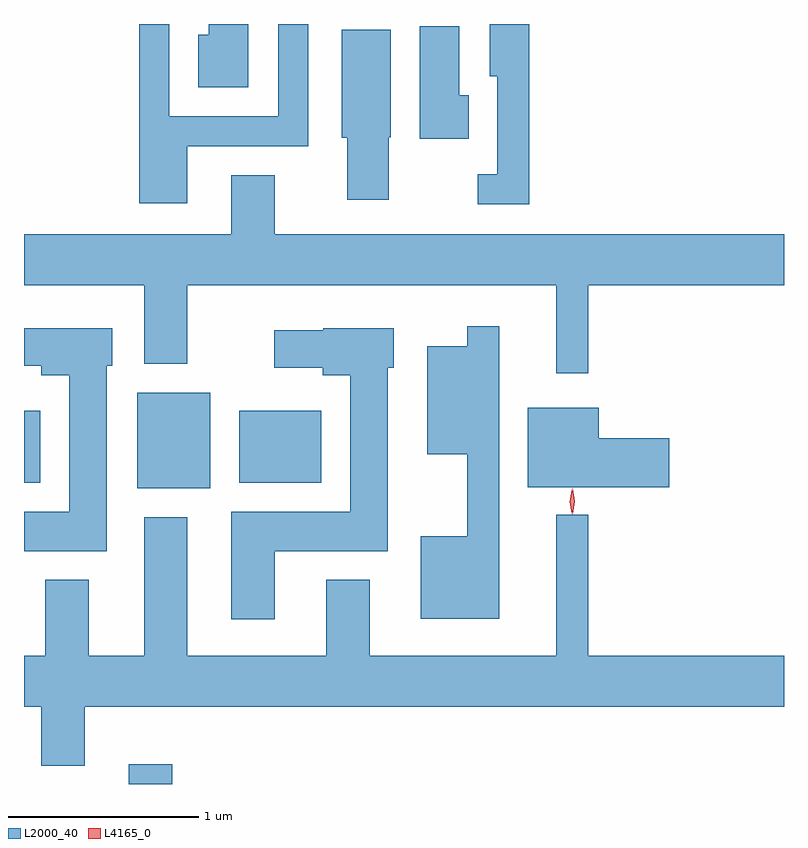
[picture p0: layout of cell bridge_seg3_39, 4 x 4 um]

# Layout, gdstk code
import gdstk
lib = gdstk.Library(unit=1e-6, precision=1e-09)
def R(c, l, rs):  # rectangles x0, y0, x1, y1
    for r in rs: c.add(gdstk.rectangle(r[:2], r[2:], *l))
def P(c, l, *ps):  # polygons
    for p in ps: c.add(gdstk.Polygon(p, *l))
L2000_40 = (2000, 40)
L4165_0 = (4165, 0)

bridge_seg3_39 = lib.new_cell('bridge_seg3_39')
R(bridge_seg3_39, L2000_40, [(1157.631,1132.27,1157.859,1132.374), (1157.676,1133.826,1158.059,1134.329), (1157.079,1133.856,1157.164,1134.234), (1158.211,1133.856,1158.644,1134.234)])
P(bridge_seg3_39, L2000_40, [(1159.739,1136.27),(1159.531,1136.27),(1159.531,1135.996),(1159.571,1135.996),(1159.571,1135.479),(1159.468,1135.479),(1159.468,1135.321),(1159.739,1135.321)],
  [(1158.259,1136.27),(1158.051,1136.27),(1158.051,1136.214),(1157.996,1136.214),(1157.996,1135.936),(1158.259,1135.936)],
  [(1157.939,1135.626),(1158.574,1135.626),(1158.574,1136.268),(1158.416,1136.268),(1158.416,1135.784),(1157.844,1135.784),(1157.844,1136.27),(1157.686,1136.27),(1157.686,1135.326),(1157.939,1135.326)],
  [(1159.419,1135.894),(1159.369,1135.894),(1159.369,1136.259),(1159.161,1136.259),(1159.161,1135.666),(1159.419,1135.666)],
  [(1158.999,1135.675),(1159.009,1135.675),(1159.009,1136.239),(1158.751,1136.239),(1158.751,1135.671),(1158.781,1135.671),(1158.781,1135.346),(1158.999,1135.346)],
  [(1160.049,1134.896),(1161.079,1134.896),(1161.079,1135.164),(1158.399,1135.164),(1158.399,1135.474),(1158.171,1135.474),(1158.171,1135.164),(1157.079,1135.164),(1157.079,1134.896),(1157.711,1134.896),(1157.711,1134.481),(1157.939,1134.481),(1157.939,1134.896),(1159.881,1134.896),(1159.881,1134.433),(1160.049,1134.433)],
  [(1159.579,1134.678),(1159.411,1134.678),(1159.411,1134.574),(1159.201,1134.574),(1159.201,1134.006),(1159.411,1134.006),(1159.411,1133.574),(1159.166,1133.574),(1159.166,1133.141),(1159.579,1133.141)],
  [(1157.514,1134.471),(1157.544,1134.471),(1157.544,1134.669),(1157.079,1134.669),(1157.079,1134.471),(1157.171,1134.471),(1157.171,1134.421),(1157.316,1134.421),(1157.316,1133.704),(1157.079,1133.704),(1157.079,1133.496),(1157.514,1133.496)],
  [(1158.399,1133.496),(1158.994,1133.496),(1158.994,1134.461),(1159.024,1134.461),(1159.024,1134.669),(1158.655,1134.669),(1158.655,1134.659),(1158.396,1134.659),(1158.396,1134.461),(1158.651,1134.461),(1158.651,1134.421),(1158.796,1134.421),(1158.796,1133.704),(1158.171,1133.704),(1158.171,1133.136),(1158.399,1133.136)],
  [(1160.474,1134.089),(1160.104,1134.089),(1160.104,1134.249),(1159.731,1134.249),(1159.731,1133.831),(1160.474,1133.831)],
  [(1157.399,1132.676),(1161.079,1132.676),(1161.079,1132.944),(1160.049,1132.944),(1160.049,1133.688),(1159.881,1133.688),(1159.881,1132.944),(1158.899,1132.944),(1158.899,1133.344),(1158.671,1133.344),(1158.671,1132.944),(1157.939,1132.944),(1157.939,1133.674),(1157.711,1133.674),(1157.711,1132.944),(1157.419,1132.944),(1157.419,1133.344),(1157.191,1133.344),(1157.191,1132.944),(1157.079,1132.944),(1157.079,1132.676),(1157.171,1132.676),(1157.171,1132.366),(1157.399,1132.366)])
P(bridge_seg3_39, L4165_0, [(1159.967,1133.69),(1159.958,1133.758),(1159.967,1133.825),(1159.967,1133.826),(1159.968,1133.825),(1159.977,1133.758),(1159.968,1133.69),(1159.968,1133.69)],
  [(1159.963,1133.693),(1159.962,1133.694),(1159.952,1133.756),(1159.962,1133.82),(1159.962,1133.82),(1159.963,1133.82),(1159.972,1133.756),(1159.963,1133.694)])

lib.write_gds('bridge_seg3_39.gds')
